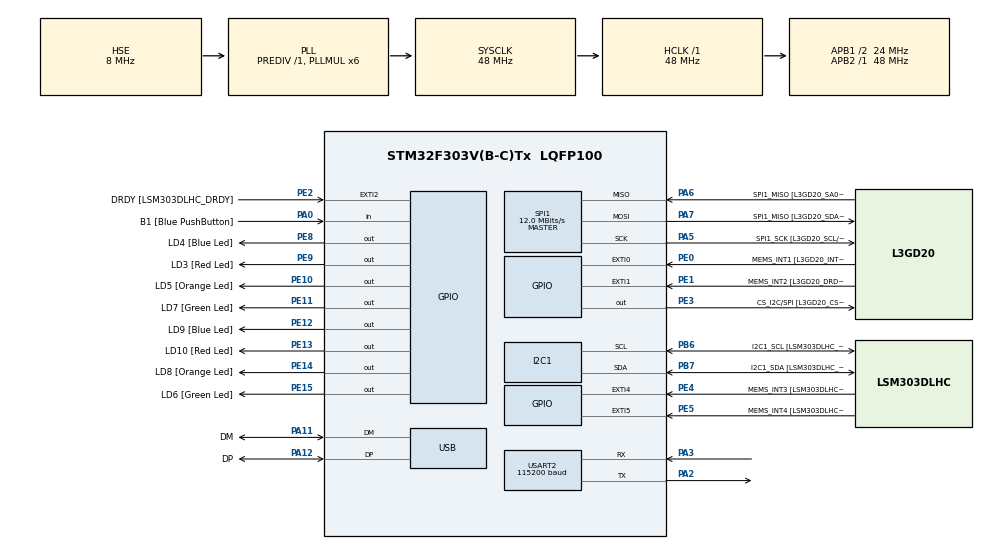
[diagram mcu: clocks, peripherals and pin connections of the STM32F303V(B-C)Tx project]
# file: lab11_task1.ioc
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I2C1.Timing=0x00201D2B
I2C1.Timing-I2C=0x2000090E
Mcu.Family=STM32F3
Mcu.Name=STM32F303V(B-C)Tx
Mcu.Package=LQFP100
NVIC.PriorityGroup=NVIC_PRIORITYGROUP_0
PA0.GPIO_Label=B1 [Blue PushButton]
PA0.Signal=GPIO_Input
PA11.GPIO_Label=DM
PA11.Mode=Device
PA11.Signal=USB_DM
PA12.GPIO_Label=DP
PA12.Mode=Device
PA12.Signal=USB_DP
PA13.GPIO_Label=SWDIO
PA13.Mode=Serial_Wire
PA13.Signal=SYS_JTMS-SWDIO
PA14.GPIO_Label=SWCLK
PA14.Mode=Serial_Wire
PA14.Signal=SYS_JTCK-SWCLK
PA2.Mode=Asynchronous
PA2.Signal=USART2_TX
PA3.Mode=Asynchronous
PA3.Signal=USART2_RX
PA5.GPIO_Label=SPI1_SCK [L3GD20_SCL/SPC]
PA5.Mode=Full_Duplex_Master
PA5.Signal=SPI1_SCK
PA6.GPIO_Label=SPI1_MISO [L3GD20_SA0/SDO]
PA6.Mode=Full_Duplex_Master
PA6.Signal=SPI1_MISO
PA7.GPIO_Label=SPI1_MISO [L3GD20_SDA/SDI/SDO]
PA7.Mode=Full_Duplex_Master
PA7.Signal=SPI1_MOSI
PB3.GPIO_Label=SWO
PB3.Signal=SYS_JTDO-TRACESWO
PB6.GPIO_Label=I2C1_SCL [LSM303DLHC_SCL]
PB6.GPIO_Pu=GPIO_PULLUP
PB6.Mode=I2C
PB6.Signal=I2C1_SCL
PB7.GPIO_Label=I2C1_SDA [LSM303DLHC_SDA]
PB7.GPIO_Pu=GPIO_PULLUP
PB7.Mode=I2C
PB7.Signal=I2C1_SDA
PC14-OSC32_IN.GPIO_Label=OSC32_IN
PC14-OSC32_IN.Signal=RCC_OSC32_IN
PC15-OSC32_OUT.GPIO_Label=OSC32_OUT
PC15-OSC32_OUT.Signal=RCC_OSC32_OUT
PE0.GPIO_Label=MEMS_INT1 [L3GD20_INT1]
PE0.GPIO_ModeDefaultEXTI=GPIO_MODE_EVT_RISING
PE0.Signal=GPXTI0
PE1.GPIO_Label=MEMS_INT2 [L3GD20_DRDY/INT2]
PE1.GPIO_ModeDefaultEXTI=GPIO_MODE_EVT_RISING
PE1.Signal=GPXTI1
PE10.GPIO_Label=LD5 [Orange Led]
PE10.Signal=GPIO_Output
PE11.GPIO_Label=LD7 [Green Led]
PE11.Signal=GPIO_Output
PE12.GPIO_Label=LD9 [Blue Led]
PE12.Signal=GPIO_Output
PE13.GPIO_Label=LD10 [Red Led]
PE13.Signal=GPIO_Output
PE14.GPIO_Label=LD8 [Orange Led]
PE14.Signal=GPIO_Output
PE15.GPIO_Label=LD6 [Green Led]
PE15.Signal=GPIO_Output
PE2.GPIO_Label=DRDY [LSM303DLHC_DRDY]
PE2.GPIO_ModeDefaultEXTI=GPIO_MODE_EVT_RISING
PE2.Signal=GPXTI2
PE3.GPIO_Label=CS_I2C/SPI [L3GD20_CS_I2C/SPI]
PE3.Signal=GPIO_Output
PE4.GPIO_Label=MEMS_INT3 [LSM303DLHC_INT1]
PE4.GPIO_ModeDefaultEXTI=GPIO_MODE_EVT_RISING
PE4.Signal=GPXTI4
PE5.GPIO_Label=MEMS_INT4 [LSM303DLHC_INT2]
PE5.GPIO_ModeDefaultEXTI=GPIO_MODE_EVT_RISING
PE5.Signal=GPXTI5
PE8.GPIO_Label=LD4 [Blue Led]
PE8.Signal=GPIO_Output
PE9.GPIO_Label=LD3 [Red Led]
PE9.Signal=GPIO_Output
PF0-OSC_IN.GPIO_Label=OSC_IN
PF0-OSC_IN.Mode=HSE-External-Clock-Source
PF0-OSC_IN.Signal=RCC_OSC_IN
PF1-OSC_OUT.GPIO_Label=OSC_OUT
PF1-OSC_OUT.Signal=RCC_OSC_OUT
ProjectManager.HeapSize=0x200
ProjectManager.StackSize=0x400
ProjectManager.TargetToolchain=CMake
RCC.AHBFreq_Value=48000000
RCC.APB1CLKDivider=RCC_HCLK_DIV2
RCC.APB1Freq_Value=24000000
RCC.APB1TimFreq_Value=48000000
RCC.APB2Freq_Value=48000000
RCC.APB2TimFreq_Value=48000000
RCC.CortexFreq_Value=48000000
RCC.HCLKFreq_Value=48000000
RCC.HSE_VALUE=8000000
RCC.HSI_VALUE=8000000
RCC.LSE_VALUE=32768
RCC.PLLMUL=RCC_PLL_MUL6
RCC.SYSCLKFreq_VALUE=48000000
RCC.SYSCLKSourceVirtual=RCC_SYSCLKSOURCE_PLLCLK
RCC.USBFreq_Value=48000000
SPI1.BaudRatePrescaler=SPI_BAUDRATEPRESCALER_4
SPI1.BaudRatePrescaler-Full_Duplex_Master=SPI_BAUDRATEPRESCALER_2
SPI1.CalculateBaudRate=12.0 MBits/s
SPI1.CalculateBaudRate-Full_Duplex_Master=24.0 MBits/s
SPI1.DataSize=SPI_DATASIZE_8BIT
SPI1.Direction=SPI_DIRECTION_2LINES
SPI1.Mode=SPI_MODE_MASTER
SPI1.Mode-Full_Duplex_Master=SPI_MODE_MASTER
SPI1.VirtualType=VM_MASTER
USART2.BaudRate=115200
USART2.VirtualMode-Asynchronous=VM_ASYNC
board=STM32F3DISCOVERY

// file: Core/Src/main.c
/* USER CODE BEGIN Header */
/**
  ******************************************************************************
  * @file           : main.c
  * @brief          : Main program body
  ******************************************************************************
  */
/* USER CODE END Header */

#include "main.h"
#include <string.h>
#include <stdio.h>
#include <math.h>

I2C_HandleTypeDef hi2c1;
SPI_HandleTypeDef hspi1;
UART_HandleTypeDef huart2;
PCD_HandleTypeDef hpcd_USB_FS;

/* USER CODE BEGIN PV */
char uartBuf[120];

float accAngle = 0.0f;
float gyroRate = 0.0f;
float angle = 0.0f;

const float dt = 0.01f;
const float alpha = 0.98f;

int16_t ax, ay, az;
int16_t gx, gy, gz;
/* USER CODE END PV */

void SystemClock_Config(void);
static void MX_GPIO_Init(void);
static void MX_I2C1_Init(void);
static void MX_SPI1_Init(void);
static void MX_USART2_UART_Init(void);
static void MX_USB_PCD_Init(void);

/* USER CODE BEGIN PFP */
void myPrintf(const char *msg);
void ACC_Init(void);
void GYRO_Init(void);
void ACC_ReadRaw(int16_t *ax, int16_t *ay, int16_t *az);
void GYRO_ReadRaw(int16_t *gx, int16_t *gy, int16_t *gz);
void GYRO_WriteReg(uint8_t reg, uint8_t value);
uint8_t GYRO_ReadReg(uint8_t reg);
/* USER CODE END PFP */

/* USER CODE BEGIN 0 */
#define ACC_ADDR            (0x19 << 1)
#define ACC_CTRL_REG1_A     0x20
#define ACC_CTRL_REG4_A     0x23
#define ACC_OUT_X_L_A       0x28

#define GYRO_WHO_AM_I       0x0F
#define GYRO_CTRL_REG1      0x20
#define GYRO_CTRL_REG4      0x23
#define GYRO_OUT_X_L        0x28

void myPrintf(const char *msg)
{
  HAL_UART_Transmit(&huart2, (uint8_t *)msg, strlen(msg), HAL_MAX_DELAY);
}

void ACC_Init(void)
{
  uint8_t data;
  HAL_StatusTypeDef st;

  data = 0x57;   // 100 Hz, X Y Z enabled
  st = HAL_I2C_Mem_Write(&hi2c1, ACC_ADDR, ACC_CTRL_REG1_A, I2C_MEMADD_SIZE_8BIT, &data, 1, HAL_MAX_DELAY);
  if (st != HAL_OK)
  {
    myPrintf("ACC CTRL_REG1 write failed\r\n");
  }

  data = 0x00;   // +/-2g, continuous update
  st = HAL_I2C_Mem_Write(&hi2c1, ACC_ADDR, ACC_CTRL_REG4_A, I2C_MEMADD_SIZE_8BIT, &data, 1, HAL_MAX_DELAY);
  if (st != HAL_OK)
  {
    myPrintf("ACC CTRL_REG4 write failed\r\n");
  }

  HAL_Delay(50);
}

void ACC_ReadRaw(int16_t *ax, int16_t *ay, int16_t *az)
{
  uint8_t rawData[6];
  HAL_StatusTypeDef st;

  st = HAL_I2C_Mem_Read(&hi2c1, ACC_ADDR, ACC_OUT_X_L_A | 0x80, I2C_MEMADD_SIZE_8BIT, rawData, 6, HAL_MAX_DELAY);
  if (st != HAL_OK)
  {
    *ax = 0;
    *ay = 0;
    *az = 0;
    myPrintf("ACC read failed\r\n");
    return;
  }

  *ax = (int16_t)((rawData[1] << 8) | rawData[0]);
  *ay = (int16_t)((rawData[3] << 8) | rawData[2]);
  *az = (int16_t)((rawData[5] << 8) | rawData[4]);

  *ax = *ax >> 4;
  *ay = *ay >> 4;
  *az = *az >> 4;
}

void GYRO_WriteReg(uint8_t reg, uint8_t value)
{
  uint8_t tx[2];
  tx[0] = reg & 0x7F;
  tx[1] = value;

  HAL_GPIO_WritePin(GPIOE, CS_I2C_SPI_Pin, GPIO_PIN_RESET);
  HAL_SPI_Transmit(&hspi1, tx, 2, HAL_MAX_DELAY);
  HAL_GPIO_WritePin(GPIOE, CS_I2C_SPI_Pin, GPIO_PIN_SET);
}

uint8_t GYRO_ReadReg(uint8_t reg)
{
  uint8_t tx[2], rx[2];
  tx[0] = reg | 0x80;
  tx[1] = 0x00;

  HAL_GPIO_WritePin(GPIOE, CS_I2C_SPI_Pin, GPIO_PIN_RESET);
  HAL_SPI_TransmitReceive(&hspi1, tx, rx, 2, HAL_MAX_DELAY);
  HAL_GPIO_WritePin(GPIOE, CS_I2C_SPI_Pin, GPIO_PIN_SET);

  return rx[1];
}

void GYRO_Init(void)
{
  GYRO_WriteReg(GYRO_CTRL_REG1, 0x0F);   // normal mode, X Y Z enable
  GYRO_WriteReg(GYRO_CTRL_REG4, 0x00);   // 250 dps full scale
  HAL_Delay(50);
}

void GYRO_ReadRaw(int16_t *gx, int16_t *gy, int16_t *gz)
{
  uint8_t tx[7];
  uint8_t rx[7];

  tx[0] = GYRO_OUT_X_L | 0x80 | 0x40;   // read + auto increment
  tx[1] = 0x00;
  tx[2] = 0x00;
  tx[3] = 0x00;
  tx[4] = 0x00;
  tx[5] = 0x00;
  tx[6] = 0x00;

  HAL_GPIO_WritePin(GPIOE, CS_I2C_SPI_Pin, GPIO_PIN_RESET);
  HAL_SPI_TransmitReceive(&hspi1, tx, rx, 7, HAL_MAX_DELAY);
  HAL_GPIO_WritePin(GPIOE, CS_I2C_SPI_Pin, GPIO_PIN_SET);

  *gx = (int16_t)((rx[2] << 8) | rx[1]);
  *gy = (int16_t)((rx[4] << 8) | rx[3]);
  *gz = (int16_t)((rx[6] << 8) | rx[5]);
}
/* USER CODE END 0 */

int main(void)
{
  HAL_Init();
  SystemClock_Config();

  MX_GPIO_Init();
  MX_I2C1_Init();
  MX_SPI1_Init();
  MX_USART2_UART_Init();
  MX_USB_PCD_Init();

  /* USER CODE BEGIN 2 */
  ACC_Init();
  GYRO_Init();

  sprintf(uartBuf, "GYRO WHO_AM_I = 0x%02X\r\n", GYRO_ReadReg(GYRO_WHO_AM_I));
  myPrintf(uartBuf);

  myPrintf("accAngle,gyroRate,angle\r\n");
  /* USER CODE END 2 */

  while (1)
  {
    ACC_ReadRaw(&ax, &ay, &az);
    GYRO_ReadRaw(&gx, &gy, &gz);

    /* Better default tilt estimate for many board orientations */
    accAngle = atan2f((float)ax, (float)az) * 180.0f / 3.14159265f;

    /* X-axis gyro rate in dps for 250 dps full scale */
    gyroRate = (float)gx * 0.00875f;

    angle = alpha * (angle + gyroRate * dt) + (1.0f - alpha) * accAngle;

    sprintf(uartBuf, "%.2f,%.2f,%.2f\r\n", accAngle, gyroRate, angle);
    myPrintf(uartBuf);

    HAL_Delay(100);
  }
}

void SystemClock_Config(void)
{
  RCC_OscInitTypeDef RCC_OscInitStruct = {0};
  RCC_ClkInitTypeDef RCC_ClkInitStruct = {0};
  RCC_PeriphCLKInitTypeDef PeriphClkInit = {0};

  /** Initializes the RCC Oscillators according to the specified parameters
  * in the RCC_OscInitTypeDef structure.
  */
  RCC_OscInitStruct.OscillatorType = RCC_OSCILLATORTYPE_HSI|RCC_OSCILLATORTYPE_HSE;
  RCC_OscInitStruct.HSEState = RCC_HSE_BYPASS;
  RCC_OscInitStruct.HSEPredivValue = RCC_HSE_PREDIV_DIV1;
  RCC_OscInitStruct.HSIState = RCC_HSI_ON;
  RCC_OscInitStruct.HSICalibrationValue = RCC_HSICALIBRATION_DEFAULT;
  RCC_OscInitStruct.PLL.PLLState = RCC_PLL_ON;
  RCC_OscInitStruct.PLL.PLLSource = RCC_PLLSOURCE_HSE;
  RCC_OscInitStruct.PLL.PLLMUL = RCC_PLL_MUL6;
  if (HAL_RCC_OscConfig(&RCC_OscInitStruct) != HAL_OK)
  {
    Error_Handler();
  }

  /** Initializes the CPU, AHB and APB buses clocks
  */
  RCC_ClkInitStruct.ClockType = RCC_CLOCKTYPE_HCLK|RCC_CLOCKTYPE_SYSCLK
                              |RCC_CLOCKTYPE_PCLK1|RCC_CLOCKTYPE_PCLK2;
  RCC_ClkInitStruct.SYSCLKSource = RCC_SYSCLKSOURCE_PLLCLK;
  RCC_ClkInitStruct.AHBCLKDivider = RCC_SYSCLK_DIV1;
  RCC_ClkInitStruct.APB1CLKDivider = RCC_HCLK_DIV2;
  RCC_ClkInitStruct.APB2CLKDivider = RCC_HCLK_DIV1;

  if (HAL_RCC_ClockConfig(&RCC_ClkInitStruct, FLASH_LATENCY_1) != HAL_OK)
  {
    Error_Handler();
  }
  PeriphClkInit.PeriphClockSelection = RCC_PERIPHCLK_USB|RCC_PERIPHCLK_USART2
                              |RCC_PERIPHCLK_I2C1;
  PeriphClkInit.Usart2ClockSelection = RCC_USART2CLKSOURCE_PCLK1;
  PeriphClkInit.I2c1ClockSelection = RCC_I2C1CLKSOURCE_HSI;
  PeriphClkInit.USBClockSelection = RCC_USBCLKSOURCE_PLL;
  if (HAL_RCCEx_PeriphCLKConfig(&PeriphClkInit) != HAL_OK)
  {
    Error_Handler();
  }
}

static void MX_I2C1_Init(void)
{

  hi2c1.Instance = I2C1;
  hi2c1.Init.Timing = 0x00201D2B;
  hi2c1.Init.OwnAddress1 = 0;
  hi2c1.Init.AddressingMode = I2C_ADDRESSINGMODE_7BIT;
  hi2c1.Init.DualAddressMode = I2C_DUALADDRESS_DISABLE;
  hi2c1.Init.OwnAddress2 = 0;
  hi2c1.Init.OwnAddress2Masks = I2C_OA2_NOMASK;
  hi2c1.Init.GeneralCallMode = I2C_GENERALCALL_DISABLE;
  hi2c1.Init.NoStretchMode = I2C_NOSTRETCH_DISABLE;
  if (HAL_I2C_Init(&hi2c1) != HAL_OK)
  {
    Error_Handler();
  }

  /** Configure Analogue filter
  */
  if (HAL_I2CEx_ConfigAnalogFilter(&hi2c1, I2C_ANALOGFILTER_ENABLE) != HAL_OK)
  {
    Error_Handler();
  }

  /** Configure Digital filter
  */
  if (HAL_I2CEx_ConfigDigitalFilter(&hi2c1, 0) != HAL_OK)
  {
    Error_Handler();
  }

}

static void MX_SPI1_Init(void)
{

  /* SPI1 parameter configuration*/
  hspi1.Instance = SPI1;
  hspi1.Init.Mode = SPI_MODE_MASTER;
  hspi1.Init.Direction = SPI_DIRECTION_2LINES;
  hspi1.Init.DataSize = SPI_DATASIZE_8BIT;
  hspi1.Init.CLKPolarity = SPI_POLARITY_LOW;
  hspi1.Init.CLKPhase = SPI_PHASE_1EDGE;
  hspi1.Init.NSS = SPI_NSS_SOFT;
  hspi1.Init.BaudRatePrescaler = SPI_BAUDRATEPRESCALER_4;
  hspi1.Init.FirstBit = SPI_FIRSTBIT_MSB;
  hspi1.Init.TIMode = SPI_TIMODE_DISABLE;
  hspi1.Init.CRCCalculation = SPI_CRCCALCULATION_DISABLE;
  hspi1.Init.CRCPolynomial = 7;
  hspi1.Init.CRCLength = SPI_CRC_LENGTH_DATASIZE;
  hspi1.Init.NSSPMode = SPI_NSS_PULSE_ENABLE;
  if (HAL_SPI_Init(&hspi1) != HAL_OK)
  {
    Error_Handler();
  }

}

static void MX_USART2_UART_Init(void)
{

  huart2.Instance = USART2;
  huart2.Init.BaudRate = 115200;
  huart2.Init.WordLength = UART_WORDLENGTH_8B;
  huart2.Init.StopBits = UART_STOPBITS_1;
  huart2.Init.Parity = UART_PARITY_NONE;
  huart2.Init.Mode = UART_MODE_TX_RX;
  huart2.Init.HwFlowCtl = UART_HWCONTROL_NONE;
  huart2.Init.OverSampling = UART_OVERSAMPLING_16;
  huart2.Init.OneBitSampling = UART_ONE_BIT_SAMPLE_DISABLE;
  huart2.AdvancedInit.AdvFeatureInit = UART_ADVFEATURE_NO_INIT;
  if (HAL_UART_Init(&huart2) != HAL_OK)
  {
    Error_Handler();
  }

}

static void MX_USB_PCD_Init(void)
{

  hpcd_USB_FS.Instance = USB;
  hpcd_USB_FS.Init.dev_endpoints = 8;
  hpcd_USB_FS.Init.speed = PCD_SPEED_FULL;
  hpcd_USB_FS.Init.phy_itface = PCD_PHY_EMBEDDED;
  hpcd_USB_FS.Init.low_power_enable = DISABLE;
  hpcd_USB_FS.Init.battery_charging_enable = DISABLE;
  if (HAL_PCD_Init(&hpcd_USB_FS) != HAL_OK)
  {
    Error_Handler();
  }

}

static void MX_GPIO_Init(void)
{
  GPIO_InitTypeDef GPIO_InitStruct = {0};

  /* GPIO Ports Clock Enable */
  __HAL_RCC_GPIOE_CLK_ENABLE();
  __HAL_RCC_GPIOC_CLK_ENABLE();
  __HAL_RCC_GPIOF_CLK_ENABLE();
  __HAL_RCC_GPIOA_CLK_ENABLE();
  __HAL_RCC_GPIOB_CLK_ENABLE();

  /*Configure GPIO pin Output Level */
  HAL_GPIO_WritePin(GPIOE, CS_I2C_SPI_Pin|LD4_Pin|LD3_Pin|LD5_Pin
                          |LD7_Pin|LD9_Pin|LD10_Pin|LD8_Pin
                          |LD6_Pin, GPIO_PIN_RESET);

  /*Configure GPIO pins : DRDY_Pin MEMS_INT3_Pin MEMS_INT4_Pin MEMS_INT1_Pin
                           MEMS_INT2_Pin */
  GPIO_InitStruct.Pin = DRDY_Pin|MEMS_INT3_Pin|MEMS_INT4_Pin|MEMS_INT1_Pin
                          |MEMS_INT2_Pin;
  GPIO_InitStruct.Mode = GPIO_MODE_EVT_RISING;
  GPIO_InitStruct.Pull = GPIO_NOPULL;
  HAL_GPIO_Init(GPIOE, &GPIO_InitStruct);

  /*Configure GPIO pins : CS_I2C_SPI_Pin LD4_Pin LD3_Pin LD5_Pin
                           LD7_Pin LD9_Pin LD10_Pin LD8_Pin
                           LD6_Pin */
  GPIO_InitStruct.Pin = CS_I2C_SPI_Pin|LD4_Pin|LD3_Pin|LD5_Pin
                          |LD7_Pin|LD9_Pin|LD10_Pin|LD8_Pin
                          |LD6_Pin;
  GPIO_InitStruct.Mode = GPIO_MODE_OUTPUT_PP;
  GPIO_InitStruct.Pull = GPIO_NOPULL;
  GPIO_InitStruct.Speed = GPIO_SPEED_FREQ_LOW;
  HAL_GPIO_Init(GPIOE, &GPIO_InitStruct);

  /*Configure GPIO pin : B1_Pin */
  GPIO_InitStruct.Pin = B1_Pin;
  GPIO_InitStruct.Mode = GPIO_MODE_INPUT;
  GPIO_InitStruct.Pull = GPIO_NOPULL;
  HAL_GPIO_Init(B1_GPIO_Port, &GPIO_InitStruct);

}

void Error_Handler(void)
{
  __disable_irq();
  while (1)
  {
  }
}
